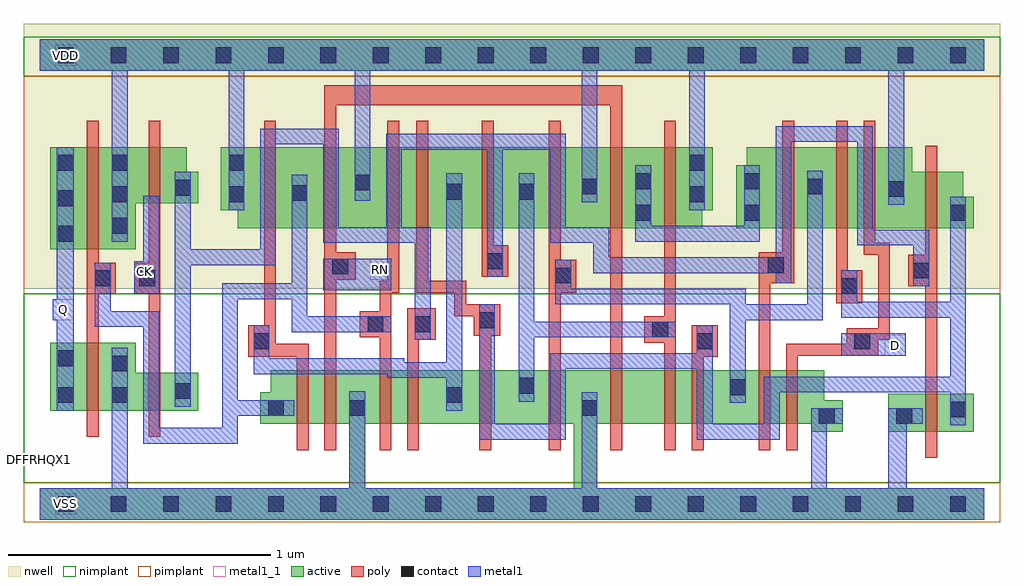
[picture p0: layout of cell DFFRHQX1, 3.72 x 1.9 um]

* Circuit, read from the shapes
.subckt DFFRHQX1 CK D Q RN VDD VSS
M1 VSS n1 Q VSS nfet w=0.26u l=0.045u
M2 n2 CK VSS VSS nfet w=0.145u l=0.045u
M3 n3 n4 n1 VSS nfet w=0.205u l=0.045u
M4 VSS RN n3 VSS nfet w=0.205u l=0.045u
M5 n5 n1 VSS VSS nfet w=0.205u l=0.045u
M6 n4 n2 n5 VSS nfet w=0.205u l=0.045u
M7 n6 n7 n4 VSS nfet w=0.205u l=0.045u
M8 VSS n8 n6 VSS nfet w=0.205u l=0.045u
M9 n9 RN VSS VSS nfet w=0.205u l=0.045u
M10 n10 n6 n9 VSS nfet w=0.205u l=0.045u
M11 n8 n7 n10 VSS nfet w=0.205u l=0.045u
M12 n11 n2 n8 VSS nfet w=0.205u l=0.045u
M13 VSS D n11 VSS nfet w=0.205u l=0.045u
M14 n7 n2 VSS VSS nfet w=0.145u l=0.045u
M15 VDD n1 Q VDD pfet w=0.39u l=0.045u
M16 n2 CK VDD VDD pfet w=0.215u l=0.045u
M17 n1 n4 VDD VDD pfet w=0.31u l=0.045u
M18 VDD RN n1 VDD pfet w=0.31u l=0.045u
M19 n12 n1 VDD VDD pfet w=0.31u l=0.045u
M20 n4 n7 n12 VDD pfet w=0.31u l=0.045u
M21 n6 n2 n4 VDD pfet w=0.31u l=0.045u
M22 VDD n8 n6 VDD pfet w=0.31u l=0.045u
M23 n13 RN VDD VDD pfet w=0.31u l=0.045u
M24 VDD n6 n13 VDD pfet w=0.31u l=0.045u
M25 n8 n2 n13 VDD pfet w=0.31u l=0.045u
M26 n14 n7 n8 VDD pfet w=0.31u l=0.045u
M27 VDD D n14 VDD pfet w=0.31u l=0.045u
M28 n7 n2 VDD VDD pfet w=0.215u l=0.045u
.ends

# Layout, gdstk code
import gdstk
lib = gdstk.Library(unit=1e-6, precision=5e-10)
def R(c, l, rs):  # rectangles x0, y0, x1, y1
    for r in rs: c.add(gdstk.rectangle(r[:2], r[2:], *l))
def A(c, l, x, y, w, h, nx, ny, dx, dy):  # array of equal rectangles
    R(c, l, [(x+i*dx, y+j*dy, x+i*dx+w, y+j*dy+h) for i in range(nx) for j in range(ny)])
def P(c, l, *ps):  # polygons
    for p in ps: c.add(gdstk.Polygon(p, *l))
active = (1, 0)
nwell = (2, 0)
poly = (3, 0)
nimplant = (4, 0)
pimplant = (5, 0)
contact = (6, 0)
metal1 = (7, 0)
metal1_1 = (7, 1)

dffrhqx1 = lib.new_cell('DFFRHQX1')
R(dffrhqx1, active, [(3.235,0.275,3.56,0.42), (0,1.65,3.6,1.77)])
P(dffrhqx1, active, [(3.6,0.06),(2.125,0.06),(2.125,0.305),(2.94,0.305),(2.94,0.275),(3.06,0.275),(3.06,0.395),(2.99,0.395),(2.99,0.51),(2.035,0.51),(2.035,0.06),(1.24,0.06),(1.24,0.305),(2.035,0.305),(2.035,0.51),(0.88,0.51),(0.88,0.425),(0.84,0.425),(0.84,0.305),(1.18,0.305),(1.18,0.06),(0,0.06),(0,-0.06),(3.6,-0.06)],
  [(3.56,1.17),(3.52,1.17),(3.52,1.265),(3.325,1.265),(3.325,1.36),(2.695,1.36),(2.695,1.29),(2.655,1.29),(2.655,1.05),(3.56,1.05)],
  [(2.565,1.36),(0.69,1.36),(0.69,1.12),(0.755,1.12),(0.755,1.05),(2.525,1.05),(2.525,1.12),(2.565,1.12)],
  [(0.605,0.5),(0.365,0.5),(0.365,0.615),(0.04,0.615),(0.04,0.355),(0.605,0.355)],
  [(0.605,1.265),(0.56,1.265),(0.56,1.36),(0.04,1.36),(0.04,0.97),(0.365,0.97),(0.365,1.145),(0.605,1.145)])
R(dffrhqx1, nwell, [(-0.06,0.82,3.66,1.83)])
P(dffrhqx1, poly, [(3.24,0.995),(3.185,0.995),(3.185,1.46),(3.14,1.46),(3.14,0.95),(3.195,0.95),(3.195,0.67),(3.075,0.67),(3.075,0.61),(2.845,0.61),(2.845,0.205),(2.89,0.205),(2.89,0.565),(3.195,0.565),(3.195,0.625),(3.24,0.625)],
  [(3.135,0.89),(3.08,0.89),(3.08,1.46),(3.035,1.46),(3.035,0.765),(3.135,0.765)],
  [(2.875,1.46),(2.83,1.46),(2.83,0.96),(2.74,0.96),(2.74,0.205),(2.785,0.205),(2.785,0.84),(2.875,0.84)],
  [(2.585,0.68),(2.485,0.68),(2.485,0.205),(2.53,0.205),(2.53,0.56),(2.585,0.56)],
  [(2.425,1.46),(2.38,1.46),(2.38,0.715),(2.305,0.715),(2.305,0.615),(2.38,0.615),(2.38,0.205),(2.425,0.205)],
  [(2.22,1.595),(1.085,1.595),(1.085,0.205),(1.13,0.205),(1.13,0.855),(1.205,0.855),(1.205,0.96),(1.13,0.96),(1.13,1.52),(2.175,1.52),(2.175,0.205),(2.22,0.205)],
  [(2.045,0.93),(1.985,0.93),(1.985,1.46),(1.94,1.46),(1.94,0.205),(1.985,0.205),(1.985,0.805),(2.045,0.805)],
  [(1.785,0.985),(1.73,0.985),(1.73,1.46),(1.685,1.46),(1.685,0.865),(1.785,0.865)],
  [(1.755,0.76),(1.625,0.76),(1.625,0.85),(1.48,0.85),(1.48,1.46),(1.435,1.46),(1.435,0.805),(1.58,0.805),(1.58,0.715),(1.655,0.715),(1.655,0.64),(1.675,0.64),(1.675,0.205),(1.72,0.205),(1.72,0.64),(1.755,0.64)],
  [(1.51,0.745),(1.4,0.745),(1.4,0.205),(1.445,0.205),(1.445,0.625),(1.51,0.625)],
  [(1.37,1.46),(1.325,1.46),(1.325,0.85),(1.295,0.85),(1.295,0.735),(1.22,0.735),(1.22,0.635),(1.295,0.635),(1.295,0.205),(1.34,0.205),(1.34,0.805),(1.37,0.805)],
  [(3.42,1.365),(3.375,1.365),(3.375,0.95),(3.31,0.95),(3.31,0.83),(3.375,0.83),(3.375,0.175),(3.42,0.175)],
  [(1.025,0.61),(0.9,0.61),(0.9,1.46),(0.855,1.46),(0.855,0.68),(0.795,0.68),(0.795,0.56),(0.98,0.56),(0.98,0.205),(1.025,0.205)],
  [(0.46,1.46),(0.415,1.46),(0.415,0.92),(0.36,0.92),(0.36,0.8),(0.415,0.8),(0.415,0.255),(0.46,0.255)],
  [(0.29,0.92),(0.225,0.92),(0.225,1.46),(0.18,1.46),(0.18,0.255),(0.225,0.255),(0.225,0.8),(0.29,0.8)])
R(dffrhqx1, nimplant, [(-0.06,0.08,3.66,0.8), (-0.06,1.63,3.66,1.78)])
R(dffrhqx1, pimplant, [(-0.06,-0.07,3.66,0.08), (-0.06,0.8,3.66,1.63)])
A(dffrhqx1, contact, 0.07, -0.03, 0.06, 0.06, 18, 2, 0.2, 1.71)
A(dffrhqx1, contact, 0.07, 1, 0.06, 0.06, 1, 3, 0, 0.135)
A(dffrhqx1, contact, 0.275, 1.03, 0.06, 0.06, 1, 3, 0, 0.12)
R(dffrhqx1, contact, [(2.97,0.305,3.03,0.365), (3.265,0.305,3.325,0.365), (3.47,0.33,3.53,0.39), (0.87,0.335,0.93,0.395), (1.18,0.335,1.24,0.395), (2.065,0.335,2.125,0.395), (0.07,0.385,0.13,0.445), (0.275,0.385,0.335,0.445), (1.55,0.385,1.61,0.445), (0.515,0.4,0.575,0.46), (2.63,0.415,2.69,0.475), (1.825,0.42,1.885,0.48), (0.275,0.505,0.335,0.565), (0.07,0.525,0.13,0.585), (0.815,0.59,0.875,0.65), (2.505,0.59,2.565,0.65), (3.105,0.59,3.165,0.65), (2.335,0.635,2.395,0.695), (1.25,0.655,1.31,0.715), (1.43,0.655,1.49,0.715), (1.675,0.67,1.735,0.73), (3.055,0.8,3.115,0.86), (0.21,0.83,0.27,0.89), (0.38,0.83,0.44,0.89), (1.965,0.84,2.025,0.9), (3.33,0.86,3.39,0.92), (1.115,0.875,1.175,0.935), (2.775,0.88,2.835,0.94), (1.705,0.895,1.765,0.955), (2.27,1.08,2.33,1.14), (2.685,1.08,2.745,1.14), (3.47,1.08,3.53,1.14), (0.72,1.15,0.78,1.21), (2.475,1.15,2.535,1.21), (0.96,1.155,1.02,1.215), (1.55,1.16,1.61,1.22), (1.825,1.16,1.885,1.22), (0.96,1.165,1.02,1.215), (3.235,1.17,3.295,1.23), (0.515,1.175,0.575,1.235), (2.065,1.18,2.125,1.24), (2.925,1.18,2.985,1.24), (1.2,1.195,1.26,1.255), (2.27,1.2,2.33,1.26), (2.685,1.2,2.745,1.26), (0.72,1.27,0.78,1.33), (2.475,1.27,2.535,1.33)])
R(dffrhqx1, metal1, [(3.055,0.565,3.3,0.65), (1.08,0.815,1.34,0.935)])
P(dffrhqx1, metal1, [(3.6,1.77),(0,1.77),(0,1.65),(0.275,1.65),(0.275,1),(0.335,1),(0.335,1.65),(0.72,1.65),(0.72,1.12),(0.78,1.12),(0.78,1.65),(1.2,1.65),(1.2,1.155),(1.26,1.155),(1.26,1.65),(2.065,1.65),(2.065,1.15),(2.125,1.15),(2.125,1.65),(2.475,1.65),(2.475,1.12),(2.535,1.12),(2.535,1.65),(3.235,1.65),(3.235,1.14),(3.295,1.14),(3.295,1.65),(3.6,1.65)],
  [(3.53,1.17),(3.47,1.17),(3.47,0.77),(3.115,0.77),(3.115,0.89),(3.055,0.89),(3.055,0.71),(3.47,0.71),(3.47,0.485),(2.76,0.485),(2.76,0.305),(2.565,0.305),(2.565,0.68),(2.505,0.68),(2.505,0.575),(1.945,0.575),(1.945,0.305),(1.735,0.305),(1.735,0.76),(1.675,0.76),(1.675,0.245),(2.005,0.245),(2.005,0.515),(2.505,0.515),(2.505,0.245),(2.82,0.245),(2.82,0.425),(3.47,0.425),(3.47,0.3),(3.53,0.3)],
  [(3.39,1.045),(3.175,1.045),(3.175,1.44),(2.805,1.44),(2.805,0.94),(2.17,0.94),(2.17,1.055),(2.005,1.055),(2.005,1.41),(1.32,1.41),(1.32,1.055),(1.14,1.055),(1.14,1.43),(0.84,1.43),(0.84,0.97),(0.575,0.97),(0.575,1.265),(0.515,1.265),(0.515,0.37),(0.575,0.37),(0.575,0.91),(0.9,0.91),(0.9,1.37),(1.08,1.37),(1.08,0.995),(1.43,0.995),(1.43,0.625),(1.49,0.625),(1.49,1.055),(1.38,1.055),(1.38,1.35),(1.705,1.35),(1.705,0.865),(1.765,0.865),(1.765,1.35),(1.945,1.35),(1.945,0.995),(2.11,0.995),(2.11,0.88),(2.805,0.88),(2.805,0.84),(2.865,0.84),(2.865,1.38),(3.115,1.38),(3.115,0.985),(3.33,0.985),(3.33,0.83),(3.39,0.83)],
  [(2.985,1.27),(2.925,1.27),(2.925,0.76),(2.69,0.76),(2.69,0.82),(2.025,0.82),(2.025,0.93),(1.965,0.93),(1.965,0.76),(2.63,0.76),(2.63,0.385),(2.69,0.385),(2.69,0.7),(2.985,0.7)],
  [(2.745,1.29),(2.685,1.29),(2.685,1.06),(2.33,1.06),(2.33,1.29),(2.27,1.29),(2.27,1),(2.745,1)],
  [(2.425,0.695),(1.885,0.695),(1.885,1.26),(1.825,1.26),(1.825,0.39),(1.885,0.39),(1.885,0.635),(2.425,0.635)],
  [(3.6,0.06),(3.305,0.06),(3.305,0.305),(3.365,0.305),(3.365,0.365),(3.235,0.365),(3.235,0.06),(3,0.06),(3,0.305),(3.06,0.305),(3.06,0.365),(2.94,0.365),(2.94,0.06),(2.125,0.06),(2.125,0.425),(2.065,0.425),(2.065,0.06),(1.24,0.06),(1.24,0.43),(1.18,0.43),(1.18,0.06),(0.335,0.06),(0.335,0.595),(0.275,0.595),(0.275,0.06),(0,0.06),(0,-0.06),(3.6,-0.06)],
  [(1.61,1.26),(1.55,1.26),(1.55,0.54),(1.39,0.54),(1.39,0.555),(0.875,0.555),(0.875,0.68),(0.815,0.68),(0.815,0.495),(1.325,0.495),(1.325,0.48),(1.55,0.48),(1.55,0.355),(1.61,0.355)],
  [(1.34,0.715),(1.02,0.715),(1.02,1.255),(0.96,1.255),(0.96,0.84),(0.695,0.84),(0.695,0.29),(0.455,0.29),(0.455,0.735),(0.27,0.735),(0.27,0.92),(0.21,0.92),(0.21,0.675),(0.395,0.675),(0.395,0.23),(0.755,0.23),(0.755,0.335),(0.97,0.335),(0.97,0.395),(0.755,0.395),(0.755,0.78),(0.96,0.78),(0.96,0.655),(1.34,0.655)],
  [(0.455,1.175),(0.395,1.175),(0.395,0.925),(0.36,0.925),(0.36,0.8),(0.455,0.8)],
  [(0.13,1.36),(0.065,1.36),(0.065,0.78),(0.05,0.78),(0.05,0.7),(0.065,0.7),(0.065,0.355),(0.13,0.355)])
R(dffrhqx1, metal1_1, [(0.06,-0.04,0.14,0.04), (3.22,0.565,3.3,0.645), (0.05,0.7,0.13,0.78), (0.36,0.845,0.44,0.925), (1.26,0.855,1.34,0.935), (0.06,1.67,0.14,1.75)])
dffrhqx1.add(gdstk.Label('VDD', (0.1,1.71), layer=7, texttype=1))
dffrhqx1.add(gdstk.Label('Q', (0.09,0.74), layer=7, texttype=1))
dffrhqx1.add(gdstk.Label('CK', (0.4,0.885), layer=7, texttype=1))
dffrhqx1.add(gdstk.Label('D', (3.26,0.605), layer=7, texttype=1))
dffrhqx1.add(gdstk.Label('VSS', (0.1,0), layer=7, texttype=1))
dffrhqx1.add(gdstk.Label('RN', (1.3,0.895), layer=7, texttype=1))
dffrhqx1.add(gdstk.Label('DFFRHQX1', (0,0.17), layer=63, texttype=0))

lib.write_gds('DFFRHQX1.gds')
